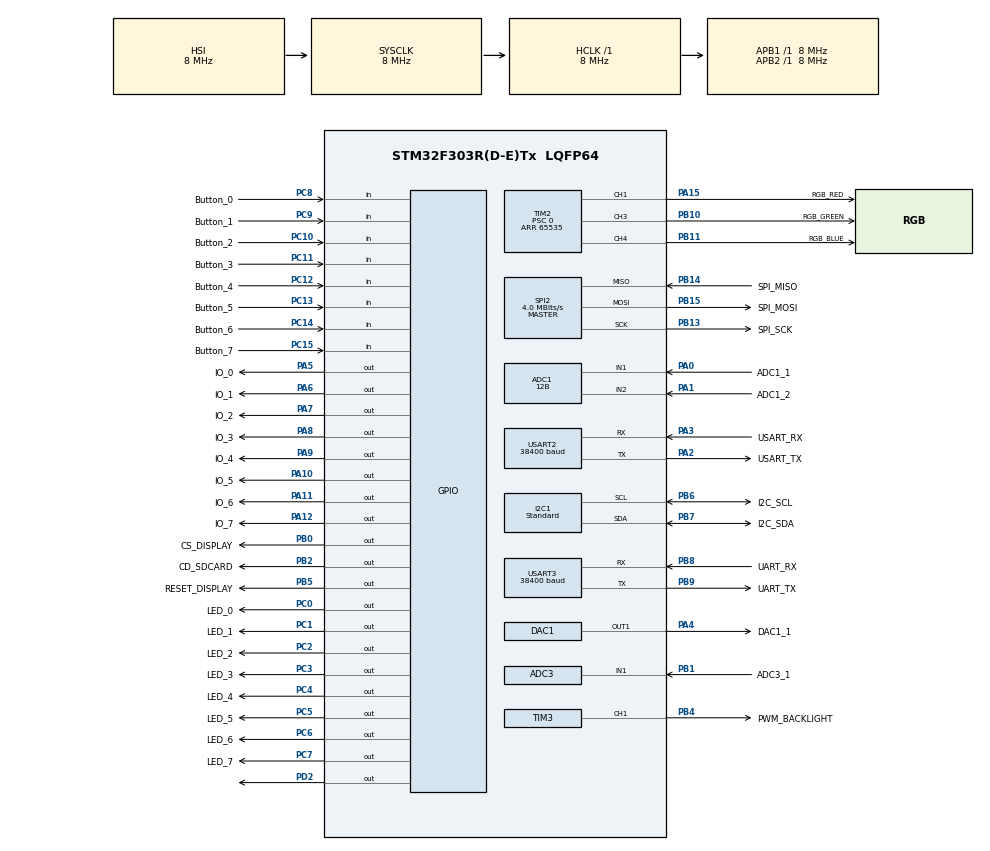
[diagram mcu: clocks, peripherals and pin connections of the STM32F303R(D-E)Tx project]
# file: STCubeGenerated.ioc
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ADC1.Channel-0\#ChannelRegularConversion=ADC_CHANNEL_1
ADC1.Channel-IN1=ADC_CHANNEL_1
ADC1.ClockPrescaler=ADC_CLOCK_ASYNC_DIV1
ADC1.ContinuousConvMode=DISABLE
ADC1.DMAContinuousRequests=DISABLE
ADC1.DataAlign=ADC_DATAALIGN_RIGHT
ADC1.DiscontinuousConvMode=DISABLE
ADC1.EOCSelection=ADC_EOC_SINGLE_CONV
ADC1.EnableAnalogWatchDog1=false
ADC1.EnableAnalogWatchDog2=false
ADC1.EnableAnalogWatchDog3=false
ADC1.EnableInjectedConversion=ENABLE
ADC1.EnableRegularConversion=ENABLE
ADC1.ExternalTrigConv=ADC_SOFTWARE_START
ADC1.ExternalTrigConvEdge=ADC_EXTERNALTRIGCONVEDGE_NONE
ADC1.InjNumberOfConversion=0
ADC1.LowPowerAutoWait=DISABLE
ADC1.Mode=ADC_MODE_INDEPENDENT
ADC1.NbrOfConversion=1
ADC1.Offset-0\#ChannelRegularConversion=0
ADC1.OffsetNumber-0\#ChannelRegularConversion=ADC_OFFSET_NONE
ADC1.Overrun=ADC_OVR_DATA_OVERWRITTEN
ADC1.Rank-0\#ChannelRegularConversion=1
ADC1.Resolution=ADC_RESOLUTION_12B
ADC1.SamplingTime-0\#ChannelRegularConversion=ADC_SAMPLETIME_1CYCLE_5
ADC1.SamplingTimeOPAMP=ADC_SAMPLETIME_4CYCLES_5
ADC1.ScanConvMode=ADC_SCAN_DISABLE
ADC1.SequencerNbRanks=1
ADC1.SingleDiff-0\#ChannelRegularConversion=ADC_DIFFERENTIAL_ENDED
ADC1.master=1
ADC3.Channel-0\#ChannelRegularConversion=ADC_CHANNEL_1
ADC3.Channel-IN1=ADC_CHANNEL_1
ADC3.ClockPrescaler=ADC_CLOCK_ASYNC_DIV1
ADC3.ContinuousConvMode=DISABLE
ADC3.DMAContinuousRequests=DISABLE
ADC3.DataAlign=ADC_DATAALIGN_RIGHT
ADC3.DiscontinuousConvMode=DISABLE
ADC3.EOCSelection=ADC_EOC_SINGLE_CONV
ADC3.EnableAnalogWatchDog1=false
ADC3.EnableAnalogWatchDog2=false
ADC3.EnableAnalogWatchDog3=false
ADC3.EnableInjectedConversion=ENABLE
ADC3.EnableRegularConversion=ENABLE
ADC3.ExternalTrigConv=ADC_SOFTWARE_START
ADC3.ExternalTrigConvEdge=ADC_EXTERNALTRIGCONVEDGE_NONE
ADC3.InjNumberOfConversion=0
ADC3.LowPowerAutoWait=DISABLE
ADC3.Mode=ADC_MODE_INDEPENDENT
ADC3.NbrOfConversion=1
ADC3.Offset-0\#ChannelRegularConversion=0
ADC3.OffsetNumber-0\#ChannelRegularConversion=ADC_OFFSET_NONE
ADC3.Overrun=ADC_OVR_DATA_OVERWRITTEN
ADC3.Rank-0\#ChannelRegularConversion=1
ADC3.Resolution=ADC_RESOLUTION_12B
ADC3.SamplingTime-0\#ChannelRegularConversion=ADC_SAMPLETIME_1CYCLE_5
ADC3.SamplingTimeOPAMP=ADC_SAMPLETIME_4CYCLES_5
ADC3.ScanConvMode=ADC_SCAN_DISABLE
ADC3.SequencerNbRanks=1
ADC3.master=1
DAC1.DAC_OutputBuffer-DAC_OUT1=DAC_OUTPUTBUFFER_ENABLE
DAC1.DAC_Trigger-DAC_OUT1=DAC_TRIGGER_NONE
Dma.Request0=USART3_RX
Dma.USART3_RX.0.Direction=DMA_PERIPH_TO_MEMORY
Dma.USART3_RX.0.Instance=DMA1_Channel3
Dma.USART3_RX.0.MemDataAlignment=DMA_MDATAALIGN_BYTE
Dma.USART3_RX.0.MemInc=DMA_MINC_ENABLE
Dma.USART3_RX.0.Mode=DMA_CIRCULAR
Dma.USART3_RX.0.PeriphDataAlignment=DMA_PDATAALIGN_BYTE
Dma.USART3_RX.0.PeriphInc=DMA_PINC_DISABLE
Dma.USART3_RX.0.Priority=DMA_PRIORITY_LOW
I2C1.AddressingMode=I2C_ADDRESSINGMODE_7BIT
I2C1.Analog_Filter=I2C_ANALOGFILTER_ENABLE
I2C1.DualAddressMode=I2C_DUALADDRESS_DISABLE
I2C1.GeneralCallMode=I2C_GENERALCALL_DISABLE
I2C1.I2C_Coeff_DF=0
I2C1.I2C_Fall_Time=0
I2C1.I2C_Rise_Time=0
I2C1.I2C_Speed_Mode=I2C_Standard
I2C1.NoStretchMode=I2C_NOSTRETCH_DISABLE
I2C1.OwnAddress=0
I2C1.Speed=100
Mcu.Family=STM32F3
Mcu.Name=STM32F303R(D-E)Tx
Mcu.Package=LQFP64
NVIC.DMA1_Channel3_IRQn=true\:0\:0\:false\:false\:true\:false\:true\:true
NVIC.PriorityGroup=NVIC_PRIORITYGROUP_0
NVIC.USART3_IRQn=true\:0\:0\:false\:true\:true\:1\:true\:true\:true
PA0.GPIO_Label=ADC1_1
PA0.Mode=IN1-Differential
PA0.Signal=ADC1_IN1
PA1.GPIO_Label=ADC1_2
PA1.Mode=IN1-Differential
PA1.Signal=ADC1_IN2
PA10.GPIO_Label=IO_5
PA10.Signal=GPIO_Output
PA11.GPIO_Label=IO_6
PA11.Signal=GPIO_Output
PA12.GPIO_Label=IO_7
PA12.Signal=GPIO_Output
PA13.GPIO_Label=TMS
PA13.Mode=Serial_Wire
PA13.Signal=SYS_JTMS-SWDIO
PA14.GPIO_Label=TCK
PA14.Mode=Serial_Wire
PA14.Signal=SYS_JTCK-SWCLK
PA15.GPIO_Label=RGB_RED
PA15.Signal=S_TIM2_CH1_ETR
PA2.GPIO_Label=USART_TX
PA2.GPIO_PuPd=GPIO_NOPULL
PA2.GPIO_Speed=GPIO_SPEED_FREQ_LOW
PA2.Mode=Asynchronous
PA2.Signal=USART2_TX
PA3.GPIO_Label=USART_RX
PA3.GPIO_PuPd=GPIO_NOPULL
PA3.GPIO_Speed=GPIO_SPEED_FREQ_LOW
PA3.Mode=Asynchronous
PA3.Signal=USART2_RX
PA4.GPIO_Label=DAC1_1
PA4.Signal=COMP_DAC11_group
PA5.GPIO_Label=IO_0
PA5.Signal=GPIO_Output
PA6.GPIO_Label=IO_1
PA6.Signal=GPIO_Output
PA7.GPIO_Label=IO_2
PA7.Signal=GPIO_Output
PA8.GPIO_Label=IO_3
PA8.Signal=GPIO_Output
PA9.GPIO_Label=IO_4
PA9.Signal=GPIO_Output
PB0.GPIO_Label=CS_DISPLAY
PB0.Signal=GPIO_Output
PB1.GPIO_Label=ADC3_1
PB1.Mode=IN1-Single-Ended
PB1.Signal=ADC3_IN1
PB10.GPIO_Label=RGB_GREEN
PB10.Signal=S_TIM2_CH3
PB11.GPIO_Label=RGB_BLUE
PB11.Signal=S_TIM2_CH4
PB12.GPIO_Label=SPI_NSS
PB12.Signal=SPI2_NSS
PB13.GPIO_Label=SPI_SCK
PB13.Mode=Full_Duplex_Master
PB13.Signal=SPI2_SCK
PB14.GPIO_Label=SPI_MISO
PB14.Mode=Full_Duplex_Master
PB14.Signal=SPI2_MISO
PB15.GPIO_Label=SPI_MOSI
PB15.Mode=Full_Duplex_Master
PB15.Signal=SPI2_MOSI
PB2.GPIO_Label=CD_SDCARD
PB2.Signal=GPIO_Output
PB3.GPIO_Label=SWO
PB3.Signal=SYS_JTDO-TRACESWO
PB4.GPIO_Label=PWM_BACKLIGHT
PB4.Signal=S_TIM3_CH1
PB5.GPIO_Label=RESET_DISPLAY
PB5.Signal=GPIO_Output
PB6.GPIO_Label=I2C_SCL
PB6.GPIO_Pu=GPIO_PULLUP
PB6.Mode=I2C
PB6.Signal=I2C1_SCL
PB7.GPIO_Label=I2C_SDA
PB7.GPIO_Pu=GPIO_PULLUP
PB7.Mode=I2C
PB7.Signal=I2C1_SDA
PB8.GPIO_Label=UART_RX
PB8.Mode=Asynchronous
PB8.Signal=USART3_RX
PB9.GPIO_Label=UART_TX
PB9.Mode=Asynchronous
PB9.Signal=USART3_TX
PC0.GPIO_Label=LED_0
PC0.Signal=GPIO_Output
PC1.GPIO_Label=LED_1
PC1.Signal=GPIO_Output
PC10.GPIO_Label=Button_2
PC10.Signal=GPIO_Input
PC11.GPIO_Label=Button_3
PC11.Signal=GPIO_Input
PC12.GPIO_Label=Button_4
PC12.Signal=GPIO_Input
PC13.GPIO_Label=Button_5
PC13.Signal=GPIO_Input
PC14-OSC32_IN.GPIO_Label=Button_6
PC14-OSC32_IN.GPIO_PuPd=GPIO_NOPULL
PC14-OSC32_IN.Signal=GPIO_Input
PC15-OSC32_OUT.GPIO_Label=Button_7
PC15-OSC32_OUT.GPIO_PuPd=GPIO_NOPULL
PC15-OSC32_OUT.Signal=GPIO_Input
PC2.GPIO_Label=LED_2
PC2.Signal=GPIO_Output
PC3.GPIO_Label=LED_3
PC3.Signal=GPIO_Output
PC4.GPIO_Label=LED_4
PC4.Signal=GPIO_Output
PC5.GPIO_Label=LED_5
PC5.Signal=GPIO_Output
PC6.GPIO_Label=LED_6
PC6.Signal=GPIO_Output
PC7.GPIO_Label=LED_7
PC7.Signal=GPIO_Output
PC8.GPIO_Label=Button_0
PC8.Signal=GPIO_Input
PC9.GPIO_Label=Button_1
PC9.Signal=GPIO_Input
PD2.Signal=GPIO_Output
PF0-OSC_IN.Signal=RCC_OSC_IN
PF1-OSC_OUT.Signal=RCC_OSC_OUT
ProjectManager.HeapSize=0x200
ProjectManager.StackSize=0x400
ProjectManager.TargetToolchain=MDK-ARM V5.32
RCC.AHBFreq_Value=8000000
RCC.APB1Freq_Value=8000000
RCC.APB2Freq_Value=8000000
RCC.CortexFreq_Value=8000000
RCC.HSE_VALUE=8000000
RCC.HSI_VALUE=8000000
RCC.LSE_VALUE=32768
RCC.SYSCLKFreq_VALUE=8000000
RCC.USBFreq_Value=16000000
SH.COMP_DAC11_group.0=DAC1_OUT1,DAC_OUT1
SH.S_TIM2_CH1_ETR.0=TIM2_CH1,PWM Generation1 CH1
SH.S_TIM2_CH3.0=TIM2_CH3,PWM Generation3 CH3
SH.S_TIM2_CH4.0=TIM2_CH4,PWM Generation4 CH4
SH.S_TIM3_CH1.0=TIM3_CH1,PWM Generation1 CH1
SPI2.BaudRatePrescaler=SPI_BAUDRATEPRESCALER_2
SPI2.CLKPhase=SPI_PHASE_1EDGE
SPI2.CLKPolarity=SPI_POLARITY_LOW
SPI2.CRCCalculation=SPI_CRCCALCULATION_DISABLE
SPI2.CalculateBaudRate=4.0 MBits/s
SPI2.DataSize=SPI_DATASIZE_8BIT
SPI2.Direction=SPI_DIRECTION_2LINES
SPI2.FirstBit=SPI_FIRSTBIT_MSB
SPI2.Mode=SPI_MODE_MASTER
SPI2.NSS=SPI_NSS_SOFT
SPI2.NSSPMode=SPI_NSS_PULSE_DISABLE
SPI2.TIMode=SPI_TIMODE_DISABLE
SPI2.VirtualType=VM_MASTER
TIM2.AutoReloadPreload=TIM_AUTORELOAD_PRELOAD_ENABLE
TIM2.Channel-PWM\ Generation1\ CH1=TIM_CHANNEL_1
TIM2.Channel-PWM\ Generation3\ CH3=TIM_CHANNEL_3
TIM2.Channel-PWM\ Generation4\ CH4=TIM_CHANNEL_4
TIM2.ClearInputSource=TIM_CLEARINPUTSOURCE_NONE
TIM2.ClockDivision=TIM_CLOCKDIVISION_DIV1
TIM2.CounterMode=TIM_COUNTERMODE_UP
TIM2.OC1Preload_PWM=ENABLE
TIM2.OC3Preload_PWM=ENABLE
TIM2.OC4Preload_PWM=ENABLE
TIM2.OCFastMode_PWM-PWM\ Generation1\ CH1=TIM_OCFAST_DISABLE
TIM2.OCFastMode_PWM-PWM\ Generation3\ CH3=TIM_OCFAST_DISABLE
TIM2.OCFastMode_PWM-PWM\ Generation4\ CH4=TIM_OCFAST_DISABLE
TIM2.OCMode_PWM-PWM\ Generation1\ CH1=TIM_OCMODE_PWM1
TIM2.OCMode_PWM-PWM\ Generation3\ CH3=TIM_OCMODE_PWM1
TIM2.OCMode_PWM-PWM\ Generation4\ CH4=TIM_OCMODE_PWM1
TIM2.OCPolarity_1=TIM_OCPOLARITY_HIGH
TIM2.OCPolarity_3=TIM_OCPOLARITY_HIGH
TIM2.OCPolarity_4=TIM_OCPOLARITY_HIGH
TIM2.Period=65535
TIM2.Prescaler=0
TIM2.Pulse-PWM\ Generation1\ CH1=0
TIM2.Pulse-PWM\ Generation3\ CH3=0
TIM2.Pulse-PWM\ Generation4\ CH4=0
TIM2.TIM_MasterOutputTrigger=TIM_TRGO_RESET
TIM2.TIM_MasterSlaveMode=TIM_MASTERSLAVEMODE_DISABLE
TIM3.AutoReloadPreload=TIM_AUTORELOAD_PRELOAD_DISABLE
TIM3.Channel-PWM\ Generation1\ CH1=TIM_CHANNEL_1
TIM3.ClearInputSource=TIM_CLEARINPUTSOURCE_NONE
TIM3.ClockDivision=TIM_CLOCKDIVISION_DIV1
TIM3.CounterMode=TIM_COUNTERMODE_UP
TIM3.OC1Preload_PWM=ENABLE
TIM3.OCFastMode_PWM-PWM\ Generation1\ CH1=TIM_OCFAST_DISABLE
TIM3.OCMode_PWM-PWM\ Generation1\ CH1=TIM_OCMODE_PWM1
TIM3.OCPolarity_1=TIM_OCPOLARITY_HIGH
TIM3.Period=65535
TIM3.Prescaler=0
TIM3.Pulse-PWM\ Generation1\ CH1=0
TIM3.TIM_MasterOutputTrigger=TIM_TRGO_RESET
TIM3.TIM_MasterSlaveMode=TIM_MASTERSLAVEMODE_DISABLE
USART2.AutoBaudRateEnableParam=UART_ADVFEATURE_AUTOBAUDRATE_DISABLE
USART2.BaudRate=38400
USART2.DMADisableonRxErrorParam=ADVFEATURE_DMA_ENABLEONRXERROR
USART2.DataInvertParam=ADVFEATURE_DATAINV_DISABLE
USART2.MSBFirstParam=ADVFEATURE_MSBFIRST_DISABLE
USART2.Mode=MODE_TX_RX
USART2.OneBitSampling=UART_ONE_BIT_SAMPLE_DISABLE
USART2.OverSampling=UART_OVERSAMPLING_16
USART2.OverrunDisableParam=ADVFEATURE_OVERRUN_ENABLE
USART2.Parity=PARITY_NONE
USART2.RxPinLevelInvertParam=ADVFEATURE_RXINV_DISABLE
USART2.StopBits=STOPBITS_1
USART2.SwapParam=ADVFEATURE_SWAP_DISABLE
USART2.TxPinLevelInvertParam=ADVFEATURE_TXINV_DISABLE
USART2.VirtualMode-Asynchronous=VM_ASYNC
USART2.WordLength=WORDLENGTH_8B
USART3.AutoBaudRateEnableParam=UART_ADVFEATURE_AUTOBAUDRATE_DISABLE
USART3.BaudRate=38400
USART3.DMADisableonRxErrorParam=ADVFEATURE_DMA_ENABLEONRXERROR
USART3.DataInvertParam=ADVFEATURE_DATAINV_DISABLE
USART3.MSBFirstParam=ADVFEATURE_MSBFIRST_DISABLE
USART3.Mode=MODE_TX_RX
USART3.OneBitSampling=UART_ONE_BIT_SAMPLE_DISABLE
USART3.OverSampling=UART_OVERSAMPLING_16
USART3.OverrunDisableParam=ADVFEATURE_OVERRUN_ENABLE
USART3.Parity=PARITY_NONE
USART3.RxPinLevelInvertParam=ADVFEATURE_RXINV_DISABLE
USART3.StopBits=STOPBITS_1
USART3.SwapParam=ADVFEATURE_SWAP_DISABLE
USART3.TxPinLevelInvertParam=ADVFEATURE_TXINV_DISABLE
USART3.VirtualMode-Asynchronous=VM_ASYNC
USART3.WordLength=WORDLENGTH_8B
VP_TIM2_VS_ClockSourceINT.Mode=Internal
board=NUCLEO-F303RE

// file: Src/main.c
/* USER CODE BEGIN Header */
/**
  ******************************************************************************
  * @file           : main.c
  * @brief          : Main program body
  ******************************************************************************
  * @attention
  *
  * Copyright (c) 2022 STMicroelectronics.
  * All rights reserved.
  *
  * This software is licensed under terms that can be found in the LICENSE file
  * in the root directory of this software component.
  * If no LICENSE file comes with this software, it is provided AS-IS.
  *
  ******************************************************************************
  */
/* USER CODE END Header */
#include "main.h"

/* USER CODE BEGIN Includes */
#include "stdbool.h"
#include <stdio.h>
#include "ST7735/ST7735.h"
#include "ST7735/DefaultFonts.h"
#include "ST7735/bitmaps.h"
#include "matrixModule/matrixModule.h"

/* USER CODE END Includes */

/* USER CODE BEGIN PD */
#define BUTTONS	(*((volatile uint32_t *) (0x48000800 + 0x10 + 1)))		// BASE Address PORT C + Offset for Input Register + Byte Shift (>> 8, to skip LEDs)
#define LEDS		(*((volatile uint32_t *) (0x48000800 + 0x14)))				// BASE Address PORT C + Offset for Output Register
#define ENTER_BUTTON	0x80
#define SKIP_BUTTON		0x40
#define FAIL_BUTTON		0x20
#define PREPERATION		255

//#define PORT3		(*((volatile uint32_t *) (0x48000000 + 0x14)))		// BASE Address PORT C + Offset for Output Register + Byte Shift (>> 8, to skip LEDs)

/* USER CODE END PD */

ADC_HandleTypeDef hadc1;
ADC_HandleTypeDef hadc3;

DAC_HandleTypeDef hdac1;

I2C_HandleTypeDef hi2c1;

SPI_HandleTypeDef hspi2;

TIM_HandleTypeDef htim2;
TIM_HandleTypeDef htim3;

UART_HandleTypeDef huart2;
UART_HandleTypeDef huart3;
DMA_HandleTypeDef hdma_usart3_rx;

/* USER CODE BEGIN PV */

enum state_e {
	LED_SWITCH_TEST = 0,
	POTENTIOMETER_TEST,
	RGB_TEST,
	USB_TEST,
	EEPROM_TEST,
	DISPLAY_TEST,
	MATRIX_TEST,
	SEGMENT_TEST,
	SHIFT_REGISTER_TEST,
	SERVO_TEST,
	END_TEST
};

enum testStates_e {
	NONE,
	DONE,
	SKIPPED,
	FAILED
};

uint8_t testText[END_TEST][14] = {
	"LED+Schalter",
	"Potentiometer",
	"RGB LED",
	"USB",
	"EEPROM",
	"Display",
	"Matrix",
	"7-Segment"
};

uint8_t testStates[END_TEST];
uint8_t uart_received;
uint8_t buffer;

/* USER CODE END PV */

void SystemClock_Config(void);
static void MX_GPIO_Init(void);
static void MX_DMA_Init(void);
static void MX_ADC1_Init(void);
static void MX_ADC3_Init(void);
static void MX_DAC1_Init(void);
static void MX_I2C1_Init(void);
static void MX_SPI2_Init(void);
static void MX_TIM2_Init(void);
static void MX_TIM3_Init(void);
static void MX_USART2_UART_Init(void);
static void MX_USART3_UART_Init(void);
static void MX_NVIC_Init(void);
/* USER CODE BEGIN PFP */
bool led_switch_test(void);
uint8_t potentiometer_test(void);
void rgb_test(uint8_t);
void usb_transmit(uint8_t);
bool eeprom_test(uint16_t, uint8_t);
void display_init(void);
void display_test(void);
void test_init(bool);
void runningLight(void);
void matrix_test(void);
void segment_test(void);

/* USER CODE END PFP */

int main(void)
 {

  /* MCU Configuration--------------------------------------------------------*/

  /* Reset of all peripherals, Initializes the Flash interface and the Systick. */
  HAL_Init();

  /* Configure the system clock */
  SystemClock_Config();

  /* Initialize all configured peripherals */
  MX_GPIO_Init();
  MX_DMA_Init();
  MX_ADC1_Init();
  MX_ADC3_Init();
  MX_DAC1_Init();
  MX_I2C1_Init();
  MX_SPI2_Init();
  MX_TIM2_Init();
  MX_TIM3_Init();
  MX_USART2_UART_Init();
  MX_USART3_UART_Init();

  /* Initialize interrupts */
  MX_NVIC_Init();
  /* USER CODE BEGIN 2 */
	uint8_t state = PREPERATION;
	bool result;
	uint8_t readInput;
	uint8_t answer = 0;

	for(uint8_t i=0; i<END_TEST; i++)
	{
		testStates[i] = NONE;
	}

	display_init();

	readInput = BUTTONS;
	if((uint8_t)readInput)
	{
		P3 = 0xFF << 5;
		while(1)
		{
			runningLight();
			rgb_test(0x10);
		}
	}
	HAL_Delay(1000);

	test_init(true);

  /* USER CODE END 2 */

  /* Infinite loop */
  while (1)
  {

    /* USER CODE BEGIN 3 */

		switch(state)
		{
			case PREPERATION:
				lcd7735_print("Press all", 0, 125,0);
				lcd7735_print("Switches", 0, 135,0);
				state = LED_SWITCH_TEST;
				break;

			case LED_SWITCH_TEST:
				if(led_switch_test())
				{
					// complete the Test
					testStates[LED_SWITCH_TEST] = DONE;
					test_init(false);

					// preperation for next Test
					state = POTENTIOMETER_TEST;
					lcd7735_print("S8 = Done", 0, 125,0);
					lcd7735_print("S7 = Skip", 0, 135,0);
					lcd7735_print("S6 = Failed", 0, 145,0);
				}
				break;

			case POTENTIOMETER_TEST:
				LEDS = potentiometer_test();
				readInput = BUTTONS;
				if(readInput & (ENTER_BUTTON | SKIP_BUTTON | FAIL_BUTTON))
				{
					// complete the Test
					if(readInput & ENTER_BUTTON)
					{
						testStates[POTENTIOMETER_TEST] = DONE;
					}
					else if(readInput & SKIP_BUTTON)
					{
						testStates[POTENTIOMETER_TEST] = SKIPPED;
					}
					else if(readInput & FAIL_BUTTON)
					{
						testStates[POTENTIOMETER_TEST] = FAILED;
					}
					test_init(false);
					HAL_Delay(100);
					while(BUTTONS & ENTER_BUTTON);

					// preperation for next Test
					LEDS = 0x00;
					lcd7735_print("S8 = Done", 0, 125,0);
					lcd7735_print("S7 = Skip", 0, 135,0);
					lcd7735_print("S6 = Failed", 0, 145,0);
					state = RGB_TEST;
				}
				break;

			case RGB_TEST:
				readInput = BUTTONS;
				rgb_test(readInput& 0x1F);
				if(readInput & (ENTER_BUTTON | SKIP_BUTTON | FAIL_BUTTON))
				{
					// complete the Test
					if(readInput & ENTER_BUTTON)
					{
						testStates[RGB_TEST] = DONE;
					}
					else if(readInput & SKIP_BUTTON)
					{
						testStates[RGB_TEST] = SKIPPED;
					}
					else if(readInput & FAIL_BUTTON)
					{
						testStates[RGB_TEST] = FAILED;
					}
					test_init(false);
					HAL_Delay(100);
					while(BUTTONS & ENTER_BUTTON);
					HAL_TIM_PWM_Stop(&htim2, TIM_CHANNEL_1);
					HAL_TIM_PWM_Stop(&htim2, TIM_CHANNEL_3);
					HAL_TIM_PWM_Stop(&htim2, TIM_CHANNEL_4);

					// preperation for next Test
					lcd7735_print("S8 = Done", 0, 125,0);
					lcd7735_print("S7 = Skip", 0, 135,0);
					lcd7735_print("S6 = Failed", 0, 145,0);
					state = USB_TEST;
				}
				break;

			case USB_TEST:
				readInput = BUTTONS;
				usb_transmit(readInput & 0x1F);
				LEDS = uart_received;
				if(readInput & (ENTER_BUTTON | SKIP_BUTTON | FAIL_BUTTON))
				{
					// complete the Test
					if(readInput & ENTER_BUTTON)
					{
						testStates[USB_TEST] = DONE;
					}
					else if(readInput & SKIP_BUTTON)
					{
						testStates[USB_TEST] = SKIPPED;
					}
					else if(readInput & FAIL_BUTTON)
					{
						testStates[USB_TEST] = FAILED;
					}
					test_init(false);
					HAL_Delay(100);
					while(BUTTONS & ENTER_BUTTON);
					LEDS = 0x00;

					// preperation for next Test
					lcd7735_print("S8: Start Test", 0, 125,0);
					lcd7735_print("Automatic Test", 0, 135,0);
					lcd7735_print("              ", 0, 145,0);
					state = EEPROM_TEST;
				}
				break;

			case EEPROM_TEST:
				if(BUTTONS & ENTER_BUTTON)
				{
					LEDS = 0x00;
					while(BUTTONS & ENTER_BUTTON);

					result = eeprom_test(0x0000, 0xAA); // hand over only Switch 1 to 6, without Enter-Switch and Start-Switch
					if(result)
					{
						testStates[EEPROM_TEST] = DONE;
						test_init(false);
					}
					else
					{
						testStates[EEPROM_TEST] = FAILED;
						test_init(false);
					}
					state = DISPLAY_TEST;
					HAL_Delay(500);
				}
				break;

			case DISPLAY_TEST:
				display_test();

				readInput = BUTTONS;
				if(readInput & (ENTER_BUTTON | SKIP_BUTTON | FAIL_BUTTON))
				{
					// complete the Test
					if(readInput & ENTER_BUTTON)
					{
						testStates[DISPLAY_TEST] = DONE;
					}
					else if(readInput & SKIP_BUTTON)
					{
						testStates[DISPLAY_TEST] = SKIPPED;
					}
					else if(readInput & FAIL_BUTTON)
					{
						testStates[DISPLAY_TEST] = FAILED;
					}
					test_init(true);
					HAL_Delay(100);
					while(BUTTONS & ENTER_BUTTON);

					// preperation for next Test
					lcd7735_print("Matrix Test    ", 0, 125,0);
					lcd7735_print("S8 = Start Test", 0, 135,0);
					lcd7735_print("S7 = Skip Test", 0, 145,0);
					configHardware(PORT1, PORT3, 8);
					do{
						answer = BUTTONS;
					} while(!(answer & (ENTER_BUTTON | SKIP_BUTTON)));
					while((uint8_t)BUTTONS);
					if(answer & ENTER_BUTTON)
					{
						lcd7735_print("S8 = Done        ", 0, 125,0);
						lcd7735_print("S7 = Skip        ", 0, 135,0);
						lcd7735_print("S6 = Failed      ", 0, 145,0);
					}
					state = MATRIX_TEST;
				}
				break;

			case MATRIX_TEST:
				if(answer & ENTER_BUTTON)
				{
					matrix_test();
				}

				readInput = BUTTONS;
				if((readInput & (ENTER_BUTTON | SKIP_BUTTON | FAIL_BUTTON)) || (answer & SKIP_BUTTON))
				{
					// complete the Test
					if(readInput & ENTER_BUTTON)
					{
						testStates[MATRIX_TEST] = DONE;
					}
					else if(readInput & SKIP_BUTTON)
					{
						testStates[MATRIX_TEST] = SKIPPED;
					}
					else if(readInput & FAIL_BUTTON)
					{
						testStates[MATRIX_TEST] = FAILED;
					}
					else if(answer & SKIP_BUTTON)
					{
						testStates[MATRIX_TEST] = SKIPPED;
					}
					P1 = 0;
					P3 = 0;
					test_init(false);
					HAL_Delay(100);
					while(BUTTONS & ENTER_BUTTON);

					// preperation for next Test
					lcd7735_print("7-Segment Test ", 0, 125,0);
					lcd7735_print("S8 = Start Test", 0, 135,0);
					lcd7735_print("S7 = Skip Test", 0, 145,0);
					configHardware(PORT1, PORT3, 8);
					do{
						answer = BUTTONS;
					} while(!(answer & (ENTER_BUTTON | SKIP_BUTTON)));
					while((uint8_t)BUTTONS);
					if(answer & ENTER_BUTTON)
					{
						lcd7735_print("S8 = Done        ", 0, 125,0);
						lcd7735_print("S7 = Skip        ", 0, 135,0);
						lcd7735_print("S6 = Failed      ", 0, 145,0);
					}
					configHardware(PORT1, PORT3, 4);
					state = SEGMENT_TEST;
				}
				break;

			case SEGMENT_TEST:
				if(answer & ENTER_BUTTON)
				{
					segment_test();
				}

				readInput = BUTTONS;
				if((readInput & (ENTER_BUTTON | SKIP_BUTTON | FAIL_BUTTON)) || (answer & SKIP_BUTTON))
				{
					// complete the Test
					if(readInput & ENTER_BUTTON)
					{
						testStates[SEGMENT_TEST] = DONE;
					}
					else if(readInput & SKIP_BUTTON)
					{
						testStates[SEGMENT_TEST] = SKIPPED;
					}
					else if(readInput & FAIL_BUTTON)
					{
						testStates[SEGMENT_TEST] = FAILED;
					}
					else if(answer & SKIP_BUTTON)
					{
						testStates[SEGMENT_TEST] = SKIPPED;
					}
					P1 = 0;
					P3 = 0;
					test_init(false);
					HAL_Delay(100);
					while(BUTTONS & ENTER_BUTTON);

					// preperation for next Test
					lcd7735_print("S8 = Done", 0, 125,0);
					lcd7735_print("S7 = Skip", 0, 135,0);
					lcd7735_print("S6 = Failed", 0, 145,0);

					state = SHIFT_REGISTER_TEST;
				}
				break;

			case SHIFT_REGISTER_TEST:
				state = SERVO_TEST;
				break;

			case SERVO_TEST:
				state = END_TEST;
				break;

			case END_TEST:
				lcd7735_print("Test completed!", 0, 125,0);
				lcd7735_print("               ", 0, 135,0);
				lcd7735_print("               ", 0, 145,0);
				while(1);
				state = LED_SWITCH_TEST;
				break;
		}
  }
  /* USER CODE END 3 */
}

void SystemClock_Config(void)
{
  RCC_OscInitTypeDef RCC_OscInitStruct = {0};
  RCC_ClkInitTypeDef RCC_ClkInitStruct = {0};
  RCC_PeriphCLKInitTypeDef PeriphClkInit = {0};

  /** Initializes the RCC Oscillators according to the specified parameters
  * in the RCC_OscInitTypeDef structure.
  */
  RCC_OscInitStruct.OscillatorType = RCC_OSCILLATORTYPE_HSI;
  RCC_OscInitStruct.HSIState = RCC_HSI_ON;
  RCC_OscInitStruct.HSICalibrationValue = RCC_HSICALIBRATION_DEFAULT;
  RCC_OscInitStruct.PLL.PLLState = RCC_PLL_ON;
  RCC_OscInitStruct.PLL.PLLSource = RCC_PLLSOURCE_HSI;
  RCC_OscInitStruct.PLL.PLLMUL = RCC_PLL_MUL2;
  RCC_OscInitStruct.PLL.PREDIV = RCC_PREDIV_DIV1;
  if (HAL_RCC_OscConfig(&RCC_OscInitStruct) != HAL_OK)
  {
    Error_Handler();
  }

  /** Initializes the CPU, AHB and APB buses clocks
  */
  RCC_ClkInitStruct.ClockType = RCC_CLOCKTYPE_HCLK|RCC_CLOCKTYPE_SYSCLK
                              |RCC_CLOCKTYPE_PCLK1|RCC_CLOCKTYPE_PCLK2;
  RCC_ClkInitStruct.SYSCLKSource = RCC_SYSCLKSOURCE_HSI;
  RCC_ClkInitStruct.AHBCLKDivider = RCC_SYSCLK_DIV1;
  RCC_ClkInitStruct.APB1CLKDivider = RCC_HCLK_DIV1;
  RCC_ClkInitStruct.APB2CLKDivider = RCC_HCLK_DIV1;

  if (HAL_RCC_ClockConfig(&RCC_ClkInitStruct, FLASH_LATENCY_0) != HAL_OK)
  {
    Error_Handler();
  }
  PeriphClkInit.PeriphClockSelection = RCC_PERIPHCLK_USART2|RCC_PERIPHCLK_USART3
                              |RCC_PERIPHCLK_I2C1|RCC_PERIPHCLK_ADC12
                              |RCC_PERIPHCLK_ADC34|RCC_PERIPHCLK_TIM2
                              |RCC_PERIPHCLK_TIM34;
  PeriphClkInit.Usart2ClockSelection = RCC_USART2CLKSOURCE_PCLK1;
  PeriphClkInit.Usart3ClockSelection = RCC_USART3CLKSOURCE_PCLK1;
  PeriphClkInit.Adc12ClockSelection = RCC_ADC12PLLCLK_DIV1;
  PeriphClkInit.Adc34ClockSelection = RCC_ADC34PLLCLK_DIV1;
  PeriphClkInit.I2c1ClockSelection = RCC_I2C1CLKSOURCE_HSI;
  PeriphClkInit.Tim2ClockSelection = RCC_TIM2CLK_HCLK;
  PeriphClkInit.Tim34ClockSelection = RCC_TIM34CLK_HCLK;
  if (HAL_RCCEx_PeriphCLKConfig(&PeriphClkInit) != HAL_OK)
  {
    Error_Handler();
  }
}

/**
  * @brief NVIC Configuration.
  * @retval None
  */
static void MX_NVIC_Init(void)
{
  /* USART3_IRQn interrupt configuration */
  HAL_NVIC_SetPriority(USART3_IRQn, 0, 0);
  HAL_NVIC_EnableIRQ(USART3_IRQn);
}

static void MX_ADC1_Init(void)
{

  ADC_MultiModeTypeDef multimode = {0};
  ADC_ChannelConfTypeDef sConfig = {0};

  /** Common config
  */
  hadc1.Instance = ADC1;
  hadc1.Init.ClockPrescaler = ADC_CLOCK_ASYNC_DIV1;
  hadc1.Init.Resolution = ADC_RESOLUTION_12B;
  hadc1.Init.ScanConvMode = ADC_SCAN_DISABLE;
  hadc1.Init.ContinuousConvMode = DISABLE;
  hadc1.Init.DiscontinuousConvMode = DISABLE;
  hadc1.Init.ExternalTrigConvEdge = ADC_EXTERNALTRIGCONVEDGE_NONE;
  hadc1.Init.ExternalTrigConv = ADC_SOFTWARE_START;
  hadc1.Init.DataAlign = ADC_DATAALIGN_RIGHT;
  hadc1.Init.NbrOfConversion = 1;
  hadc1.Init.DMAContinuousRequests = DISABLE;
  hadc1.Init.EOCSelection = ADC_EOC_SINGLE_CONV;
  hadc1.Init.LowPowerAutoWait = DISABLE;
  hadc1.Init.Overrun = ADC_OVR_DATA_OVERWRITTEN;
  if (HAL_ADC_Init(&hadc1) != HAL_OK)
  {
    Error_Handler();
  }

  /** Configure the ADC multi-mode
  */
  multimode.Mode = ADC_MODE_INDEPENDENT;
  if (HAL_ADCEx_MultiModeConfigChannel(&hadc1, &multimode) != HAL_OK)
  {
    Error_Handler();
  }

  /** Configure Regular Channel
  */
  sConfig.Channel = ADC_CHANNEL_1;
  sConfig.Rank = ADC_REGULAR_RANK_1;
  sConfig.SingleDiff = ADC_DIFFERENTIAL_ENDED;
  sConfig.SamplingTime = ADC_SAMPLETIME_1CYCLE_5;
  sConfig.OffsetNumber = ADC_OFFSET_NONE;
  sConfig.Offset = 0;
  if (HAL_ADC_ConfigChannel(&hadc1, &sConfig) != HAL_OK)
  {
    Error_Handler();
  }

}

static void MX_ADC3_Init(void)
{

  ADC_MultiModeTypeDef multimode = {0};
  ADC_ChannelConfTypeDef sConfig = {0};

  /** Common config
  */
  hadc3.Instance = ADC3;
  hadc3.Init.ClockPrescaler = ADC_CLOCK_ASYNC_DIV1;
  hadc3.Init.Resolution = ADC_RESOLUTION_12B;
  hadc3.Init.ScanConvMode = ADC_SCAN_DISABLE;
  hadc3.Init.ContinuousConvMode = DISABLE;
  hadc3.Init.DiscontinuousConvMode = DISABLE;
  hadc3.Init.ExternalTrigConvEdge = ADC_EXTERNALTRIGCONVEDGE_NONE;
  hadc3.Init.ExternalTrigConv = ADC_SOFTWARE_START;
  hadc3.Init.DataAlign = ADC_DATAALIGN_RIGHT;
  hadc3.Init.NbrOfConversion = 1;
  hadc3.Init.DMAContinuousRequests = DISABLE;
  hadc3.Init.EOCSelection = ADC_EOC_SINGLE_CONV;
  hadc3.Init.LowPowerAutoWait = DISABLE;
  hadc3.Init.Overrun = ADC_OVR_DATA_OVERWRITTEN;
  if (HAL_ADC_Init(&hadc3) != HAL_OK)
  {
    Error_Handler();
  }

  /** Configure the ADC multi-mode
  */
  multimode.Mode = ADC_MODE_INDEPENDENT;
  if (HAL_ADCEx_MultiModeConfigChannel(&hadc3, &multimode) != HAL_OK)
  {
    Error_Handler();
  }

  /** Configure Regular Channel
  */
  sConfig.Channel = ADC_CHANNEL_1;
  sConfig.Rank = ADC_REGULAR_RANK_1;
  sConfig.SingleDiff = ADC_SINGLE_ENDED;
  sConfig.SamplingTime = ADC_SAMPLETIME_1CYCLE_5;
  sConfig.OffsetNumber = ADC_OFFSET_NONE;
  sConfig.Offset = 0;
  if (HAL_ADC_ConfigChannel(&hadc3, &sConfig) != HAL_OK)
  {
    Error_Handler();
  }

}

static void MX_DAC1_Init(void)
{

  DAC_ChannelConfTypeDef sConfig = {0};

  /** DAC Initialization
  */
  hdac1.Instance = DAC1;
  if (HAL_DAC_Init(&hdac1) != HAL_OK)
  {
    Error_Handler();
  }

  /** DAC channel OUT1 config
  */
  sConfig.DAC_Trigger = DAC_TRIGGER_NONE;
  sConfig.DAC_OutputBuffer = DAC_OUTPUTBUFFER_ENABLE;
  if (HAL_DAC_ConfigChannel(&hdac1, &sConfig, DAC_CHANNEL_1) != HAL_OK)
  {
    Error_Handler();
  }

}

static void MX_I2C1_Init(void)
{

  hi2c1.Instance = I2C1;
  hi2c1.Init.Timing = 0x2000090E;
  hi2c1.Init.OwnAddress1 = 0;
  hi2c1.Init.AddressingMode = I2C_ADDRESSINGMODE_7BIT;
  hi2c1.Init.DualAddressMode = I2C_DUALADDRESS_DISABLE;
  hi2c1.Init.OwnAddress2 = 0;
  hi2c1.Init.OwnAddress2Masks = I2C_OA2_NOMASK;
  hi2c1.Init.GeneralCallMode = I2C_GENERALCALL_DISABLE;
  hi2c1.Init.NoStretchMode = I2C_NOSTRETCH_DISABLE;
  if (HAL_I2C_Init(&hi2c1) != HAL_OK)
  {
    Error_Handler();
  }

  /** Configure Analogue filter
  */
  if (HAL_I2CEx_ConfigAnalogFilter(&hi2c1, I2C_ANALOGFILTER_ENABLE) != HAL_OK)
  {
    Error_Handler();
  }

  /** Configure Digital filter
  */
  if (HAL_I2CEx_ConfigDigitalFilter(&hi2c1, 0) != HAL_OK)
  {
    Error_Handler();
  }

}

static void MX_SPI2_Init(void)
{

  /* SPI2 parameter configuration*/
  hspi2.Instance = SPI2;
  hspi2.Init.Mode = SPI_MODE_MASTER;
  hspi2.Init.Direction = SPI_DIRECTION_2LINES;
  hspi2.Init.DataSize = SPI_DATASIZE_8BIT;
  hspi2.Init.CLKPolarity = SPI_POLARITY_LOW;
  hspi2.Init.CLKPhase = SPI_PHASE_1EDGE;
  hspi2.Init.NSS = SPI_NSS_SOFT;
  hspi2.Init.BaudRatePrescaler = SPI_BAUDRATEPRESCALER_2;
  hspi2.Init.FirstBit = SPI_FIRSTBIT_MSB;
  hspi2.Init.TIMode = SPI_TIMODE_DISABLE;
  hspi2.Init.CRCCalculation = SPI_CRCCALCULATION_DISABLE;
  hspi2.Init.CRCPolynomial = 7;
  hspi2.Init.CRCLength = SPI_CRC_LENGTH_DATASIZE;
  hspi2.Init.NSSPMode = SPI_NSS_PULSE_DISABLE;
  if (HAL_SPI_Init(&hspi2) != HAL_OK)
  {
    Error_Handler();
  }

}

static void MX_TIM2_Init(void)
{

  TIM_ClockConfigTypeDef sClockSourceConfig = {0};
  TIM_MasterConfigTypeDef sMasterConfig = {0};
  TIM_OC_InitTypeDef sConfigOC = {0};

  htim2.Instance = TIM2;
  htim2.Init.Prescaler = 0;
  htim2.Init.CounterMode = TIM_COUNTERMODE_UP;
  htim2.Init.Period = 65535;
  htim2.Init.ClockDivision = TIM_CLOCKDIVISION_DIV1;
  htim2.Init.AutoReloadPreload = TIM_AUTORELOAD_PRELOAD_ENABLE;
  if (HAL_TIM_Base_Init(&htim2) != HAL_OK)
  {
    Error_Handler();
  }
  sClockSourceConfig.ClockSource = TIM_CLOCKSOURCE_INTERNAL;
  if (HAL_TIM_ConfigClockSource(&htim2, &sClockSourceConfig) != HAL_OK)
  {
    Error_Handler();
  }
  if (HAL_TIM_PWM_Init(&htim2) != HAL_OK)
  {
    Error_Handler();
  }
  sMasterConfig.MasterOutputTrigger = TIM_TRGO_RESET;
  sMasterConfig.MasterSlaveMode = TIM_MASTERSLAVEMODE_DISABLE;
  if (HAL_TIMEx_MasterConfigSynchronization(&htim2, &sMasterConfig) != HAL_OK)
  {
    Error_Handler();
  }
  sConfigOC.OCMode = TIM_OCMODE_PWM1;
  sConfigOC.Pulse = 0;
  sConfigOC.OCPolarity = TIM_OCPOLARITY_HIGH;
  sConfigOC.OCFastMode = TIM_OCFAST_DISABLE;
  if (HAL_TIM_PWM_ConfigChannel(&htim2, &sConfigOC, TIM_CHANNEL_1) != HAL_OK)
  {
    Error_Handler();
  }
  if (HAL_TIM_PWM_ConfigChannel(&htim2, &sConfigOC, TIM_CHANNEL_3) != HAL_OK)
  {
    Error_Handler();
  }
  if (HAL_TIM_PWM_ConfigChannel(&htim2, &sConfigOC, TIM_CHANNEL_4) != HAL_OK)
  {
    Error_Handler();
  }
  HAL_TIM_MspPostInit(&htim2);

}

static void MX_TIM3_Init(void)
{

  TIM_MasterConfigTypeDef sMasterConfig = {0};
  TIM_OC_InitTypeDef sConfigOC = {0};

  htim3.Instance = TIM3;
  htim3.Init.Prescaler = 0;
  htim3.Init.CounterMode = TIM_COUNTERMODE_UP;
  htim3.Init.Period = 65535;
  htim3.Init.ClockDivision = TIM_CLOCKDIVISION_DIV1;
  htim3.Init.AutoReloadPreload = TIM_AUTORELOAD_PRELOAD_DISABLE;
  if (HAL_TIM_PWM_Init(&htim3) != HAL_OK)
  {
    Error_Handler();
  }
  sMasterConfig.MasterOutputTrigger = TIM_TRGO_RESET;
  sMasterConfig.MasterSlaveMode = TIM_MASTERSLAVEMODE_DISABLE;
  if (HAL_TIMEx_MasterConfigSynchronization(&htim3, &sMasterConfig) != HAL_OK)
  {
    Error_Handler();
  }
  sConfigOC.OCMode = TIM_OCMODE_PWM1;
  sConfigOC.Pulse = 0;
  sConfigOC.OCPolarity = TIM_OCPOLARITY_HIGH;
  sConfigOC.OCFastMode = TIM_OCFAST_DISABLE;
  if (HAL_TIM_PWM_ConfigChannel(&htim3, &sConfigOC, TIM_CHANNEL_1) != HAL_OK)
  {
    Error_Handler();
  }
  HAL_TIM_MspPostInit(&htim3);

}

static void MX_USART2_UART_Init(void)
{

  huart2.Instance = USART2;
  huart2.Init.BaudRate = 38400;
  huart2.Init.WordLength = UART_WORDLENGTH_8B;
  huart2.Init.StopBits = UART_STOPBITS_1;
  huart2.Init.Parity = UART_PARITY_NONE;
  huart2.Init.Mode = UART_MODE_TX_RX;
  huart2.Init.HwFlowCtl = UART_HWCONTROL_NONE;
  huart2.Init.OverSampling = UART_OVERSAMPLING_16;
  huart2.Init.OneBitSampling = UART_ONE_BIT_SAMPLE_DISABLE;
  huart2.AdvancedInit.AdvFeatureInit = UART_ADVFEATURE_NO_INIT;
  if (HAL_UART_Init(&huart2) != HAL_OK)
  {
    Error_Handler();
  }

}

static void MX_USART3_UART_Init(void)
{

  huart3.Instance = USART3;
  huart3.Init.BaudRate = 38400;
  huart3.Init.WordLength = UART_WORDLENGTH_8B;
  huart3.Init.StopBits = UART_STOPBITS_1;
  huart3.Init.Parity = UART_PARITY_NONE;
  huart3.Init.Mode = UART_MODE_TX_RX;
  huart3.Init.HwFlowCtl = UART_HWCONTROL_NONE;
  huart3.Init.OverSampling = UART_OVERSAMPLING_16;
  huart3.Init.OneBitSampling = UART_ONE_BIT_SAMPLE_DISABLE;
  huart3.AdvancedInit.AdvFeatureInit = UART_ADVFEATURE_NO_INIT;
  if (HAL_UART_Init(&huart3) != HAL_OK)
  {
    Error_Handler();
  }
  /* USER CODE BEGIN USART3_Init 2 */
	UART_Start_Receive_DMA(&huart3, &uart_received, 1);
  /* USER CODE END USART3_Init 2 */

}

static void MX_DMA_Init(void)
{

  /* DMA controller clock enable */
  __HAL_RCC_DMA1_CLK_ENABLE();

  /* DMA interrupt init */
  /* DMA1_Channel3_IRQn interrupt configuration */
  HAL_NVIC_SetPriority(DMA1_Channel3_IRQn, 0, 0);
  HAL_NVIC_EnableIRQ(DMA1_Channel3_IRQn);

}

static void MX_GPIO_Init(void)
{
  GPIO_InitTypeDef GPIO_InitStruct = {0};

  /* GPIO Ports Clock Enable */
  __HAL_RCC_GPIOC_CLK_ENABLE();
  __HAL_RCC_GPIOF_CLK_ENABLE();
  __HAL_RCC_GPIOA_CLK_ENABLE();
  __HAL_RCC_GPIOB_CLK_ENABLE();
  __HAL_RCC_GPIOD_CLK_ENABLE();

  /*Configure GPIO pin Output Level */
  HAL_GPIO_WritePin(GPIOC, LED_0_Pin|LED_1_Pin|LED_2_Pin|LED_3_Pin
                          |LED_4_Pin|LED_5_Pin|LED_6_Pin|LED_7_Pin, GPIO_PIN_RESET);

  /*Configure GPIO pin Output Level */
  HAL_GPIO_WritePin(GPIOA, IO_0_Pin|IO_1_Pin|IO_2_Pin|IO_3_Pin
                          |IO_4_Pin|IO_5_Pin|IO_6_Pin|IO_7_Pin, GPIO_PIN_RESET);

  /*Configure GPIO pin Output Level */
  HAL_GPIO_WritePin(GPIOB, CS_DISPLAY_Pin|CD_SDCARD_Pin|RESET_DISPLAY_Pin, GPIO_PIN_RESET);

  /*Configure GPIO pin Output Level */
  HAL_GPIO_WritePin(GPIOD, GPIO_PIN_2, GPIO_PIN_RESET);

  /*Configure GPIO pins : Button_5_Pin Button_6_Pin Button_7_Pin Button_0_Pin
                           Button_1_Pin Button_2_Pin Button_3_Pin Button_4_Pin */
  GPIO_InitStruct.Pin = Button_5_Pin|Button_6_Pin|Button_7_Pin|Button_0_Pin
                          |Button_1_Pin|Button_2_Pin|Button_3_Pin|Button_4_Pin;
  GPIO_InitStruct.Mode = GPIO_MODE_INPUT;
  GPIO_InitStruct.Pull = GPIO_NOPULL;
  HAL_GPIO_Init(GPIOC, &GPIO_InitStruct);

  /*Configure GPIO pins : LED_0_Pin LED_1_Pin LED_2_Pin LED_3_Pin
                           LED_4_Pin LED_5_Pin LED_6_Pin LED_7_Pin */
  GPIO_InitStruct.Pin = LED_0_Pin|LED_1_Pin|LED_2_Pin|LED_3_Pin
                          |LED_4_Pin|LED_5_Pin|LED_6_Pin|LED_7_Pin;
  GPIO_InitStruct.Mode = GPIO_MODE_OUTPUT_PP;
  GPIO_InitStruct.Pull = GPIO_NOPULL;
  GPIO_InitStruct.Speed = GPIO_SPEED_FREQ_LOW;
  HAL_GPIO_Init(GPIOC, &GPIO_InitStruct);

  /*Configure GPIO pins : IO_0_Pin IO_1_Pin IO_2_Pin IO_3_Pin
                           IO_4_Pin IO_5_Pin IO_6_Pin IO_7_Pin */
  GPIO_InitStruct.Pin = IO_0_Pin|IO_1_Pin|IO_2_Pin|IO_3_Pin
                          |IO_4_Pin|IO_5_Pin|IO_6_Pin|IO_7_Pin;
  GPIO_InitStruct.Mode = GPIO_MODE_OUTPUT_PP;
  GPIO_InitStruct.Pull = GPIO_NOPULL;
  GPIO_InitStruct.Speed = GPIO_SPEED_FREQ_LOW;
  HAL_GPIO_Init(GPIOA, &GPIO_InitStruct);

  /*Configure GPIO pins : CS_DISPLAY_Pin CD_SDCARD_Pin RESET_DISPLAY_Pin */
  GPIO_InitStruct.Pin = CS_DISPLAY_Pin|CD_SDCARD_Pin|RESET_DISPLAY_Pin;
  GPIO_InitStruct.Mode = GPIO_MODE_OUTPUT_PP;
  GPIO_InitStruct.Pull = GPIO_NOPULL;
  GPIO_InitStruct.Speed = GPIO_SPEED_FREQ_LOW;
  HAL_GPIO_Init(GPIOB, &GPIO_InitStruct);

  /*Configure GPIO pin : PD2 */
  GPIO_InitStruct.Pin = GPIO_PIN_2;
  GPIO_InitStruct.Mode = GPIO_MODE_OUTPUT_PP;
  GPIO_InitStruct.Pull = GPIO_NOPULL;
  GPIO_InitStruct.Speed = GPIO_SPEED_FREQ_LOW;
  HAL_GPIO_Init(GPIOD, &GPIO_InitStruct);

}

/* USER CODE BEGIN 4 */

/**
 * @brief Read the Switches and mirror it to the LEDs. The function trace which Switch was set High.
 *
 * @return true Every Switch was set once to High
 * @return false Not Every Switch was set once to High
 */
bool led_switch_test(void)
{
	static uint8_t mask = 0;
	uint8_t buttons;

	buttons = BUTTONS;
	LEDS = buttons;

	mask |= buttons;
	if(mask == 0xFF)
	{
		while(buttons != 0x00)
		{
			buttons = BUTTONS;
			LEDS = buttons;
		}
		mask = 0x00;
		return true;
	}
	else
	{
		return false;
	}
}

/**
 * @brief Read the ADC the Potentiometer position and give back the upper 8 bits of the ADC Value
 *
 * @return uint8_t The upper 8 bits of the ADC Value
 */
uint8_t potentiometer_test(void)
{
	HAL_ADC_Start(&hadc3);
	HAL_ADC_PollForConversion(&hadc3, 100);
	return HAL_ADC_GetValue(&hadc3) >> 4;
}

/**
 * @brief Controls the RGB LED over the parameter
 *
 * @param inputParameter Controls the RGB LED mode
 * Bit 0: Controls Red LED (10% or off)
 * Bit 1:	Controls Green LED (10% or off)
 * Bit 2: Controls Blue LED (10% or off)
 * Bit 3: Set Brightness to 50%
 * Bit 4: Plays a Rainbow-Animation. This Bit ignors Bit 1-4
 * Bit 5: -
 * Bit 6: -
 * Bit 7: -
 */
void rgb_test(uint8_t inputParameter)
{
	uint16_t capture_value = 6553;	// set brightness to 10%
	static uint16_t step_cnt = 0;
	static uint16_t red = 65535;
	static uint16_t green = 0;
	static uint16_t blue = 0;

	if(inputParameter & 0x10)
	{
		// Animation
		switch(step_cnt/257)
		{
			case 0:
				green += 255;
				break;

			case 1:
				red -= 255;
				break;

			case 2:
				blue += 255;
				break;

			case 3:
				green -= 255;
				break;

			case 4:
				red += 255;
				break;

			case 5:
				blue -= 255;
			break;
		}

		TIM2->CCR1 = red;
		TIM2->CCR3 = green;
		TIM2->CCR4 = blue;

		HAL_TIM_PWM_Start(&htim2, TIM_CHANNEL_1);
		HAL_TIM_PWM_Start(&htim2, TIM_CHANNEL_3);
		HAL_TIM_PWM_Start(&htim2, TIM_CHANNEL_4);

		HAL_Delay(5);

		if(step_cnt == 1541)
		{
			step_cnt = 0;
		}
		else
		{
			step_cnt++;
		}
	}
	else
	{
		// brightness
		if(inputParameter & 0x08)
		{
			capture_value = 32767;	// set brightness to 50%
		}

		// Red
		if(inputParameter & 0x01)
		{
			TIM2->CCR1 = capture_value;
			HAL_TIM_PWM_Start(&htim2, TIM_CHANNEL_1);
		}
		else
		{
			HAL_TIM_PWM_Stop(&htim2, TIM_CHANNEL_1);
		}

		// Green
		if(inputParameter & 0x02)
		{
			TIM2->CCR3 = capture_value;
			HAL_TIM_PWM_Start(&htim2, TIM_CHANNEL_3);
		}
		else
		{
			HAL_TIM_PWM_Stop(&htim2, TIM_CHANNEL_3);
		}

		// Blue
		if(inputParameter & 0x04)
		{
			TIM2->CCR4 = capture_value;
			HAL_TIM_PWM_Start(&htim2, TIM_CHANNEL_4);
		}
		else
		{
			HAL_TIM_PWM_Stop(&htim2, TIM_CHANNEL_4);
		}
	}
}

/**
 * @brief Send Strings over the UART to the USB-Port
 *
 * @param inputParameter Controls the UART Output. Is positiv edge triggerd.
 * Bit 0: Sends "Hello "
 * Bit 1:	Sends "World "
 * Bit 2: Sends "I'm Odin. "
 * Bit 3: Sends "Nice to meet you! "
 * Bit 4: Sends "\r\n"
 * Bit 5: -
 * Bit 6: -
 * Bit 7: -
 */
void usb_transmit(uint8_t inputParameter)
{
	static uint8_t old_inputParameter = 0;
	uint8_t changes = (inputParameter ^ old_inputParameter) & inputParameter; 	// positiv edge detection

	switch(changes)
	{
		case 0x01:
			HAL_UART_Transmit(&huart3, "Hello ", 6, 100);
			break;

		case 0x02:
			HAL_UART_Transmit(&huart3, "World ", 6, 100);
			break;

		case 0x04:
			HAL_UART_Transmit(&huart3, "I'm Odin. ", 10, 100);
			break;

		case 0x08:
			HAL_UART_Transmit(&huart3, "Nice to meet you! ", 18, 100);
			break;

		case 0x10:
			HAL_UART_Transmit(&huart3, "\r\n", 2, 100);
			break;
	}

	old_inputParameter = inputParameter;
}

/**
 * @brief Test EEPROM. Write the input Parameter to the EEPROM, read the EEPROM and compare the parameter value with the read value.
 *
 * @param eepromAddress EEPROM-Address for the test value
 * @param inputParameter Test value which is written into the EEPROM
 * @return true Test successful. Values are equal
 * @return false Test failed. Values are different
 */
bool eeprom_test(uint16_t eepromAddress, uint8_t inputParameter)
{
	uint8_t readValue;

	HAL_I2C_Mem_Write(&hi2c1, 0xA0, eepromAddress, I2C_MEMADD_SIZE_16BIT ,&inputParameter, 1, HAL_MAX_DELAY);
	HAL_Delay(100);
	HAL_I2C_Mem_Read(&hi2c1, 0xA0, eepromAddress, I2C_MEMADD_SIZE_16BIT ,&readValue, 1, HAL_MAX_DELAY);
	HAL_Delay(100);

	if(readValue == inputParameter)
	{
		return true;
	}
	else
	{
		return false;
	}
}

/**
 * @brief Initialize the display and shows the Logo
 *
 */
void display_init(void)
{
	lcd7735_initR(INITR_REDTAB);
	lcd7735_setFont((uint8_t *)&SmallFont[0]);
	lcd7735_drawBitmap(0,0,128,160,(bitmapdatatype)Odin_160x128,1);
	HAL_TIM_PWM_Start(&htim3, TIM_CHANNEL_1);
	TIM3->CCR1 = 65535;
}

/**
 * @brief Test Display. Colors the display in Red, Green and Blue and shows informations
 *
 */
void display_test(void)
{
	const uint32_t delayTime = 1000;
	static uint8_t state = 0;
	static uint32_t time;

	switch(state)
	{
		case 0:
			lcd7735_fillScreen(ST7735_RED);
			lcd7735_print("S8 = Done", 0, 125,0);
			lcd7735_print("S7 = Skip", 0, 135,0);
			lcd7735_print("S6 = Failed", 0, 145,0);
			time = HAL_GetTick();
			state++;
			break;

		case 1:
			if((time + delayTime) < HAL_GetTick())
			{
				state++;
			}
			break;

		case 2:
			lcd7735_fillScreen(ST7735_GREEN);
			lcd7735_print("S8 = Done", 0, 125,0);
			lcd7735_print("S7 = Skip", 0, 135,0);
			lcd7735_print("S6 = Failed", 0, 145,0);
			time = HAL_GetTick();
			state++;
			break;

		case 3:
			if((time + delayTime) < HAL_GetTick())
			{
				state++;
			}
			break;

		case 4:
			lcd7735_fillScreen(ST7735_BLUE);
			lcd7735_print("S8 = Done", 0, 125,0);
			lcd7735_print("S7 = Skip", 0, 135,0);
			lcd7735_print("S6 = Failed", 0, 145,0);
			time = HAL_GetTick();
			state++;
			break;

		case 5:
			if((time + delayTime) < HAL_GetTick())
			{
				state = 0;
			}
			break;
	}
}

/**
 * @brief Initialize the test screen with the test results
 *
* @param fillScreen if true, than the Background will b redrawn
 */
void test_init(bool fillScreen)
{
	uint8_t start_y = 5;
	const uint8_t line_hight = 12;
	const uint8_t text_start_x = 12;
	const uint8_t icon_start_x = 0;
	uint8_t line_y = start_y;

	if(fillScreen)
	{
		lcd7735_fillScreen(ST7735_BLACK);
	}

	for(int i=0; i < END_TEST; i++)
	{
		switch(testStates[i])
		{
			case NONE:
				break;
			case DONE:
				lcd7735_drawBitmap(icon_start_x,line_y,10,10,(bitmapdatatype)complete_10x10,1);
				break;
			case SKIPPED:
				lcd7735_drawBitmap(icon_start_x,line_y,10,10,(bitmapdatatype)skip_10x10,1);
				break;
			case FAILED:
				lcd7735_drawBitmap(icon_start_x,line_y,10,10,(bitmapdatatype)cancel_10x10,1);
			break;
		}

		lcd7735_print(testText[i],text_start_x,line_y,0);

		line_y += line_hight;
	}
}

/**
 * @brief Non-Blocking running light animation
 *
 */
void runningLight(void)
{
	const uint32_t delayTime = 100;
	static uint8_t state = 0;
	static uint32_t time;
	static uint8_t step = 0x01;
	static uint8_t direction = 0;

	switch(state)
	{
		case 0:
			LEDS = step;
			if(direction == 0)
			{
				if(step < 0x80)
				{
					step = step << 1;
				}
				else
				{
					step = step >> 1;
					direction = 1;
				}
			}
			else
			{
				if(step > 0x01)
				{
					step = step >> 1;
				}
				else
				{
					step = step << 1;
					direction = 0;
				}
			}
			time = HAL_GetTick();
			state++;
			break;

		case 1:
			if((time + delayTime) < HAL_GetTick())
			{
				state = 0;
			}
			break;
	}
}

/**
 * @brief Matrix Test. Shows "ODIN" as scrolling text. Non-blocking
 *
 */
void matrix_test(void)
{
	uint8_t text[30] = {
		0x7E,
		0x81,
		0x81,
		0x7E,
		0x00,
		0x00,
		0xFF,
		0x81,
		0x81,
		0x7E,
		0x00,
		0x00,
		0x81,
		0xFF,
		0x81,
		0x00,
		0x00,
		0xFF,
		0x02,
		0x0C,
		0x30,
		0x40,
		0xFF,
		0x00,
		0x00,
		0x00,
		0x00,
		0x00
	};
	uint8_t pattern[8];
	const uint32_t delayTime = 100;
	static uint8_t state = 0;
	static uint32_t time = 0;

	if((time + delayTime) < HAL_GetTick())
	{
		if(state < 27)
		{
			state++;
		}
		else
		{
			state = 0;
		}

		for(int i=0; i<8; i++)
		{
			pattern[i] = ~text[(state + i) % 28];
		}
		setPattern(pattern);

		time = HAL_GetTick();
	}

	showPattern();
}

/**
 * @brief Segment Test. Shows all Hex Symbols as scrolling text. Non-blocking
 *
 */
void segment_test(void)
{
	uint8_t pattern[4] = { symbols[0], symbols[1], symbols[2], symbols[3] };
	const uint32_t delayTime = 500;
	static uint8_t state = 0;
	static uint32_t time = 0;
	static bool enableDot = false;

	if((time + delayTime) < HAL_GetTick())
	{
		if(state < 15)
		{
			state++;
		}
		else
		{
			state = 0;
			enableDot ^= 0x01;
		}

		for(int i=0; i<4; i++)
		{
			pattern[i] = symbols[(state + i) % 16];
			if(enableDot)
			{
				pattern[i] &= symbols[DOT];
			}
		}
		setPattern(pattern);

		time = HAL_GetTick();
	}

	showPattern();
}

/* USER CODE END 4 */

void Error_Handler(void)
{
  __disable_irq();
  while (1)
  {
  }
}
